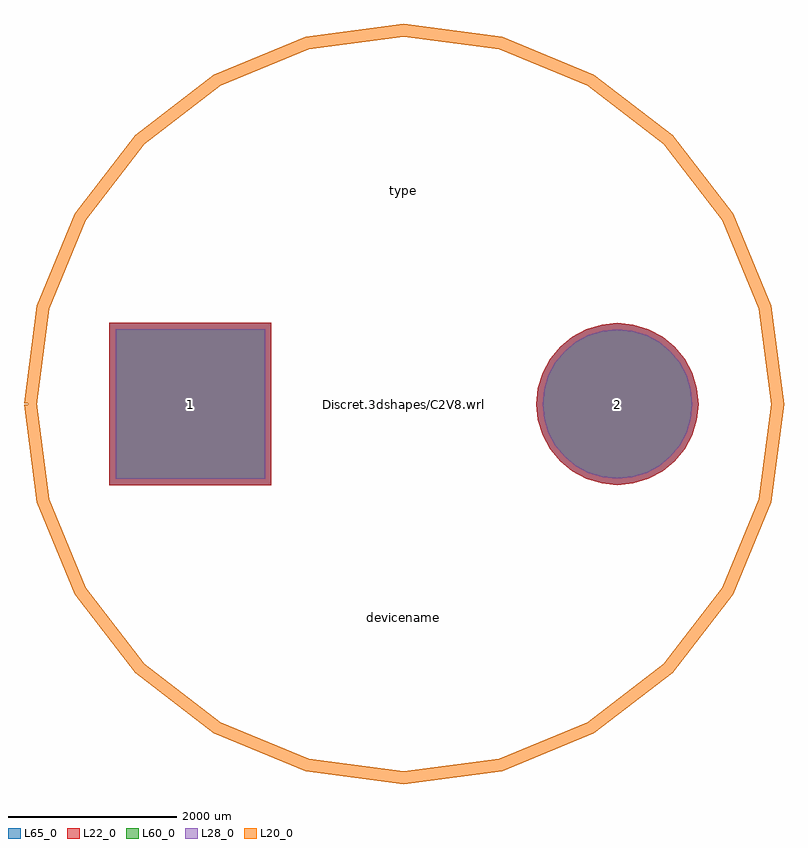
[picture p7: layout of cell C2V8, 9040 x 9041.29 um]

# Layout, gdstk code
import gdstk
lib = gdstk.Library(unit=1e-6, precision=1e-09)
def R(c, l, rs):  # rectangles x0, y0, x1, y1
    for r in rs: c.add(gdstk.rectangle(r[:2], r[2:], *l))
def P(c, l, *ps):  # polygons
    for p in ps: c.add(gdstk.Polygon(p, *l))
L20_0 = (20, 0)
L22_0 = (22, 0)
L28_0 = (28, 0)
L60_0 = (60, 0)
L65_0 = (65, 0)

c2v8 = lib.new_cell('C2V8')
R(c2v8, L22_0, [(-3504,-964,-1576,964)])
P(c2v8, L22_0, [(3504,0),(3485.477,188.067),(3430.62,368.907),(3341.537,535.57),(3221.651,681.651),(3075.57,801.537),(2908.907,890.62),(2728.067,945.477),(2540,964),(2351.933,945.477),(2171.093,890.62),(2004.43,801.537),(1858.349,681.651),(1738.463,535.57),(1649.38,368.907),(1594.523,188.067),(1576,0),(1594.523,-188.067),(1649.38,-368.907),(1738.463,-535.57),(1858.349,-681.651),(2004.43,-801.537),(2171.093,-890.62),(2351.933,-945.477),(2540,-964),(2728.067,-945.477),(2908.907,-890.62),(3075.57,-801.537),(3221.651,-681.651),(3341.537,-535.57),(3430.62,-368.907),(3485.477,-188.067)])
R(c2v8, L28_0, [(-3429,-889,-1651,889)])
P(c2v8, L28_0, [(3429,0),(3411.918,173.435),(3361.329,340.206),(3279.176,493.902),(3168.618,628.618),(3033.902,739.176),(2880.206,821.329),(2713.435,871.918),(2540,889),(2366.565,871.918),(2199.794,821.329),(2046.098,739.176),(1911.382,628.618),(1800.824,493.902),(1718.671,340.206),(1668.082,173.435),(1651,0),(1668.082,-173.435),(1718.671,-340.206),(1800.824,-493.902),(1911.382,-628.618),(2046.098,-739.176),(2199.794,-821.329),(2366.565,-871.918),(2540,-889),(2713.435,-871.918),(2880.206,-821.329),(3033.902,-739.176),(3168.618,-628.618),(3279.176,-493.902),(3361.329,-340.206),(3411.918,-173.435)])
R(c2v8, L60_0, [(-3429,-889,-1651,889)])
P(c2v8, L60_0, [(3429,0),(3411.918,173.435),(3361.329,340.206),(3279.176,493.902),(3168.618,628.618),(3033.902,739.176),(2880.206,821.329),(2713.435,871.918),(2540,889),(2366.565,871.918),(2199.794,821.329),(2046.098,739.176),(1911.382,628.618),(1800.824,493.902),(1718.671,340.206),(1668.082,173.435),(1651,0),(1668.082,-173.435),(1718.671,-340.206),(1800.824,-493.902),(1911.382,-628.618),(2046.098,-739.176),(2199.794,-821.329),(2366.565,-871.918),(2540,-889),(2713.435,-871.918),(2880.206,-821.329),(3033.902,-739.176),(3168.618,-628.618),(3279.176,-493.902),(3361.329,-340.206),(3411.918,-173.435)])
R(c2v8, L65_0, [(-3504,-964,-1576,964)])
P(c2v8, L65_0, [(3504,0),(3485.477,188.067),(3430.62,368.907),(3341.537,535.57),(3221.651,681.651),(3075.57,801.537),(2908.907,890.62),(2728.067,945.477),(2540,964),(2351.933,945.477),(2171.093,890.62),(2004.43,801.537),(1858.349,681.651),(1738.463,535.57),(1649.38,368.907),(1594.523,188.067),(1576,0),(1594.523,-188.067),(1649.38,-368.907),(1738.463,-535.57),(1858.349,-681.651),(2004.43,-801.537),(2171.093,-890.62),(2351.933,-945.477),(2540,-964),(2728.067,-945.477),(2908.907,-890.62),(3075.57,-801.537),(3221.651,-681.651),(3341.537,-535.57),(3430.62,-368.907),(3485.477,-188.067)])
c2v8.add(gdstk.FlexPath([(-4445,0),(-4293.54,-1150.451),(-3849.483,-2222.5),(-3143.09,-3143.09),(-2222.5,-3849.483),(-1150.451,-4293.54),(0,-4445),(1150.451,-4293.54),(2222.5,-3849.483),(3143.09,-3143.09),(3849.483,-2222.5),(4293.54,-1150.451),(4445,0),(4293.54,1150.451),(3849.483,2222.5),(3143.09,3143.09),(2222.5,3849.483),(1150.451,4293.54),(0,4445),(-1150.451,4293.54),(-2222.5,3849.483),(-3143.09,3143.09),(-3849.483,2222.5),(-4293.54,1150.451),(-4445,0)], 149.998, ends="flush", simple_path=True, layer=20, datatype=0))  # L20_0
c2v8.add(gdstk.Label('Discret.3dshapes/C2V8.wrl', (0,0), layer=12, texttype=0))
c2v8.add(gdstk.Label('2', (2540,0), layer=28, texttype=0))
c2v8.add(gdstk.Label('1', (-2540,0), layer=28, texttype=0))
c2v8.add(gdstk.Label('type', (0,2540), layer=9, texttype=0))
c2v8.add(gdstk.Label('devicename', (0,-2540), layer=9, texttype=0))

lib.write_gds('C2V8.gds')
